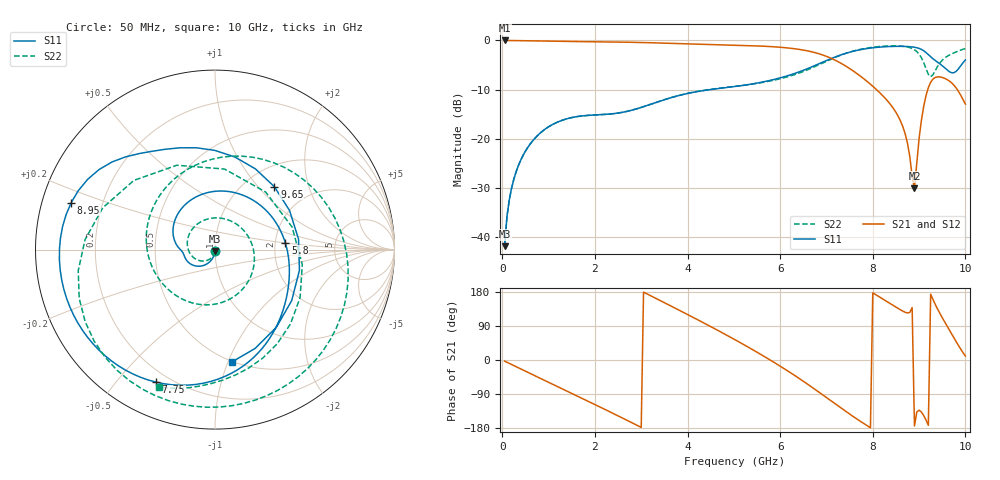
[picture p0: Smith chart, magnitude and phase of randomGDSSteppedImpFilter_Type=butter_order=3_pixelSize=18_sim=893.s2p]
! freq	dB(S11)	phase(S11)	dB(S12)	phase(S12)
!  dB(S21)	phase(S21)	dB(S22)	phase(S22)
!S-par simulation data
#  GHz  S  DB  R 50
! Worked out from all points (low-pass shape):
!   200 points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, 50 MHz to 10 GHz, reference 50 ohm
!   highest |S21| = -0.01 dB at 50 MHz (marker M1); lowest = -30.1 dB at 8.9 GHz (marker M2)
!   |S21| within 3 dB of the highest: start of sweep to 6.931 GHz
!   lowest |S11| = -41.9 dB at 50 MHz (marker M3), VSWR 1.02, Z = 50 - j0.806 ohm
!   |S11| at or under -10 dB: start of sweep to 4.495 GHz
!   |S22| runs from -41.9 to -1.1 dB; largest |S21 - S12| = 0
!   S11 on the Smith chart (normalised r, x): 50 MHz: 1.00, -0.02; 5.8 GHz: 2.28, +0.20; 7.75 GHz: 0.15, -0.64; 8.95 GHz: 0.09, +0.16; 9.65 GHz: 1.34, +1.23; 10 GHz: 0.49, -1.03
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0.05  -41.86 -92.1  -0.01 -3.0  -0.01 -3.0  -41.87 -93.3
0.2  -30.08 -99.4  -0.02 -11.9  -0.02 -11.9  -30.09 -104.4
0.5  -22.52 -113.6  -0.06 -29.5  -0.06 -29.5  -22.54 -126.4
1.75  -15.34 -161.8  -0.25 -102.7  -0.25 -102.7  -15.34 135.0
2.65  -14.52 -178.3  -0.35 -156.5  -0.35 -156.5  -14.53 44.1
3.4  -12.37 163.4  -0.53 157.5  -0.53 157.5  -12.36 -29.2
4.25  -10.35 119.9  -0.77 104.3  -0.77 104.3  -10.30 -91.7
5.05  -9.35 62.4  -0.96 51.9  -0.96 51.9  -9.32 -139.1
5.8  -8.10 5.3  -1.26 -1.2  -1.26 -1.2  -8.23 170.9
6.7  -5.31 -50.1  -2.36 -73.0  -2.36 -73.0  -5.53 79.9
7.3  -2.98 -85.7  -4.58 -125.5  -4.58 -125.5  -3.03 9.1
7.75  -1.85 -114.0  -7.39 -163.2  -7.39 -163.2  -1.78 -38.0
8.35  -1.24 -151.9  -12.66 150.9  -12.66 150.9  -1.12 -92.9
8.7  -1.22 -176.2  -19.02 125.9  -19.02 125.9  -1.25 -129.1
8.9  -1.39 166.8  -30.11 -174.0  -30.11 -174.0  -1.90 -160.4
8.95  -1.49 161.9  -24.95 -137.5  -24.95 -137.5  -2.26 -171.3
9.05  -1.83 151.1  -16.26 -137.3  -16.26 -137.3  -3.52 159.5
9.2  -2.89 133.8  -9.60 -172.2  -9.60 -172.2  -6.90 83.3
9.35  -4.10 116.4  -7.53 146.5  -7.53 146.5  -6.14 -9.7
9.65  -6.34 46.7  -8.23 80.1  -8.23 80.1  -3.00 -80.8
9.8  -6.30 -13.7  -9.66 48.6  -9.66 48.6  -2.33 -96.2
10  -3.96 -81.6  -12.95 10.5  -12.95 10.5  -1.67 -112.0
